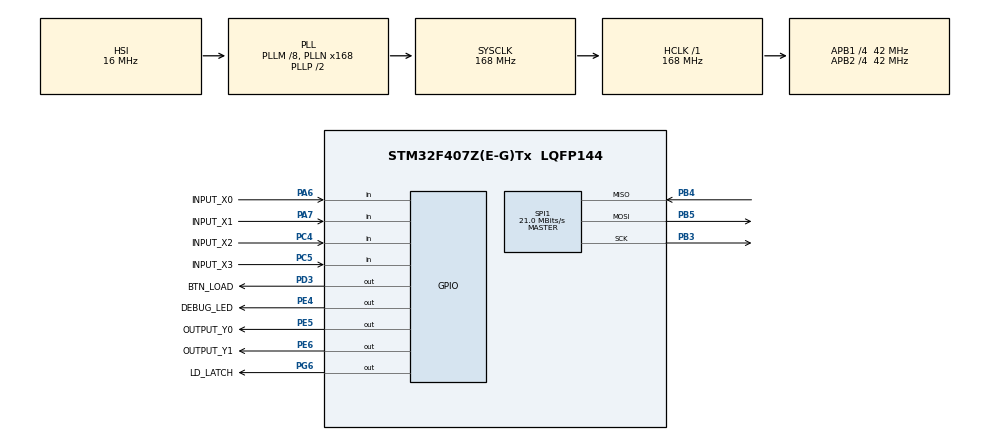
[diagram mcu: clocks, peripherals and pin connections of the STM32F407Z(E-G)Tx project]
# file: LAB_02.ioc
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Mcu.Family=STM32F4
Mcu.Name=STM32F407Z(E-G)Tx
Mcu.Package=LQFP144
NVIC.PriorityGroup=NVIC_PRIORITYGROUP_4
NVIC.TIM2_IRQn=true\:0\:0\:false\:false\:true\:true\:true
PA13.Mode=Serial_Wire
PA13.Signal=SYS_JTMS-SWDIO
PA14.Mode=Serial_Wire
PA14.Signal=SYS_JTCK-SWCLK
PA6.GPIO_Label=INPUT_X0
PA6.Signal=GPIO_Input
PA7.GPIO_Label=INPUT_X1
PA7.Signal=GPIO_Input
PB3.Mode=Full_Duplex_Master
PB3.Signal=SPI1_SCK
PB4.Mode=Full_Duplex_Master
PB4.Signal=SPI1_MISO
PB5.Mode=Full_Duplex_Master
PB5.Signal=SPI1_MOSI
PC4.GPIO_Label=INPUT_X2
PC4.Signal=GPIO_Input
PC5.GPIO_Label=INPUT_X3
PC5.Signal=GPIO_Input
PD3.GPIO_Label=BTN_LOAD
PD3.Signal=GPIO_Output
PE4.GPIO_Label=DEBUG_LED
PE4.Signal=GPIO_Output
PE5.GPIO_Label=OUTPUT_Y0
PE5.Signal=GPIO_Output
PE6.GPIO_Label=OUTPUT_Y1
PE6.Signal=GPIO_Output
PG6.GPIO_Label=LD_LATCH
PG6.Signal=GPIO_Output
PH0-OSC_IN.Mode=HSE-External-Oscillator
PH0-OSC_IN.Signal=RCC_OSC_IN
PH1-OSC_OUT.Mode=HSE-External-Oscillator
PH1-OSC_OUT.Signal=RCC_OSC_OUT
ProjectManager.HeapSize=0x200
ProjectManager.StackSize=0x400
ProjectManager.TargetToolchain=STM32CubeIDE
RCC.48MHZClocksFreq_Value=84000000
RCC.AHBFreq_Value=168000000
RCC.APB1CLKDivider=RCC_HCLK_DIV4
RCC.APB1Freq_Value=42000000
RCC.APB1TimFreq_Value=84000000
RCC.APB2CLKDivider=RCC_HCLK_DIV4
RCC.APB2Freq_Value=42000000
RCC.APB2TimFreq_Value=84000000
RCC.CortexFreq_Value=168000000
RCC.HCLKFreq_Value=168000000
RCC.HSE_VALUE=8000000
RCC.HSI_VALUE=16000000
RCC.LSE_VALUE=32768
RCC.PLLM=8
RCC.PLLN=168
RCC.SYSCLKFreq_VALUE=168000000
RCC.SYSCLKSource=RCC_SYSCLKSOURCE_PLLCLK
RCC.VCOOutputFreq_Value=336000000
SPI1.CalculateBaudRate=21.0 MBits/s
SPI1.Direction=SPI_DIRECTION_2LINES
SPI1.Mode=SPI_MODE_MASTER
SPI1.VirtualType=VM_MASTER
TIM2.Period=100-1
TIM2.Prescaler=840-1
VP_TIM2_VS_ClockSourceINT.Mode=Internal
board=custom

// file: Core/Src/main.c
/* USER CODE BEGIN Header */
/**
  ******************************************************************************
  * @file           : main.c
  * @brief          : Main program body
  ******************************************************************************
  * @attention
  *
  * <h2><center>&copy; Copyright (c) 2025 STMicroelectronics.
  * All rights reserved.</center></h2>
  *
  * This software component is licensed by ST under BSD 3-Clause license,
  * the "License"; You may not use this file except in compliance with the
  * License. You may obtain a copy of the License at:
  *                        opensource.org/licenses/BSD-3-Clause
  *
  ******************************************************************************
  */
/* USER CODE END Header */
#include "main.h"

/* USER CODE BEGIN Includes */
#include "software_timer.h"
#include "led_7seg.h"
/* USER CODE END Includes */

SPI_HandleTypeDef hspi1;

TIM_HandleTypeDef htim2;

void SystemClock_Config(void);
static void MX_GPIO_Init(void);
static void MX_SPI1_Init(void);
static void MX_TIM2_Init(void);
/* USER CODE BEGIN PFP */
void system_init();
void test_LedDebug();
void test_LedY0();
void test_LedY1();
void test_7seg();
/* USER CODE END PFP */

int main(void)
{

  /* MCU Configuration--------------------------------------------------------*/

  /* Reset of all peripherals, Initializes the Flash interface and the Systick. */
  HAL_Init();

  /* Configure the system clock */
  SystemClock_Config();

  /* Initialize all configured peripherals */
  MX_GPIO_Init();
  MX_SPI1_Init();
  MX_TIM2_Init();
  /* USER CODE BEGIN 2 */
  system_init();
  led7_SetColon(1);
  /* USER CODE END 2 */

  /* Infinite loop */
  while (1)
  {
	  while(!flag_timer2);
	  flag_timer2 = 0;
	  // main task, every 50ms
//	  test_LedDebug();
//	  test_LedY0();
//	  test_LedY1();
//	  test_7seg();
	  led7_Scan();

	  bai_1();
//	  bai_2();
//	  bai_3();
//	  bai_4();
//	  bai_5();
  }
}

void SystemClock_Config(void)
{
  RCC_OscInitTypeDef RCC_OscInitStruct = {0};
  RCC_ClkInitTypeDef RCC_ClkInitStruct = {0};

  /** Configure the main internal regulator output voltage
  */
  __HAL_RCC_PWR_CLK_ENABLE();
  __HAL_PWR_VOLTAGESCALING_CONFIG(PWR_REGULATOR_VOLTAGE_SCALE1);
  /** Initializes the RCC Oscillators according to the specified parameters
  * in the RCC_OscInitTypeDef structure.
  */
  RCC_OscInitStruct.OscillatorType = RCC_OSCILLATORTYPE_HSI;
  RCC_OscInitStruct.HSIState = RCC_HSI_ON;
  RCC_OscInitStruct.HSICalibrationValue = RCC_HSICALIBRATION_DEFAULT;
  RCC_OscInitStruct.PLL.PLLState = RCC_PLL_ON;
  RCC_OscInitStruct.PLL.PLLSource = RCC_PLLSOURCE_HSI;
  RCC_OscInitStruct.PLL.PLLM = 8;
  RCC_OscInitStruct.PLL.PLLN = 168;
  RCC_OscInitStruct.PLL.PLLP = RCC_PLLP_DIV2;
  RCC_OscInitStruct.PLL.PLLQ = 4;
  if (HAL_RCC_OscConfig(&RCC_OscInitStruct) != HAL_OK)
  {
    Error_Handler();
  }
  /** Initializes the CPU, AHB and APB buses clocks
  */
  RCC_ClkInitStruct.ClockType = RCC_CLOCKTYPE_HCLK|RCC_CLOCKTYPE_SYSCLK
                              |RCC_CLOCKTYPE_PCLK1|RCC_CLOCKTYPE_PCLK2;
  RCC_ClkInitStruct.SYSCLKSource = RCC_SYSCLKSOURCE_PLLCLK;
  RCC_ClkInitStruct.AHBCLKDivider = RCC_SYSCLK_DIV1;
  RCC_ClkInitStruct.APB1CLKDivider = RCC_HCLK_DIV4;
  RCC_ClkInitStruct.APB2CLKDivider = RCC_HCLK_DIV4;

  if (HAL_RCC_ClockConfig(&RCC_ClkInitStruct, FLASH_LATENCY_5) != HAL_OK)
  {
    Error_Handler();
  }
}

static void MX_SPI1_Init(void)
{

  /* SPI1 parameter configuration*/
  hspi1.Instance = SPI1;
  hspi1.Init.Mode = SPI_MODE_MASTER;
  hspi1.Init.Direction = SPI_DIRECTION_2LINES;
  hspi1.Init.DataSize = SPI_DATASIZE_8BIT;
  hspi1.Init.CLKPolarity = SPI_POLARITY_LOW;
  hspi1.Init.CLKPhase = SPI_PHASE_1EDGE;
  hspi1.Init.NSS = SPI_NSS_SOFT;
  hspi1.Init.BaudRatePrescaler = SPI_BAUDRATEPRESCALER_2;
  hspi1.Init.FirstBit = SPI_FIRSTBIT_MSB;
  hspi1.Init.TIMode = SPI_TIMODE_DISABLE;
  hspi1.Init.CRCCalculation = SPI_CRCCALCULATION_DISABLE;
  hspi1.Init.CRCPolynomial = 10;
  if (HAL_SPI_Init(&hspi1) != HAL_OK)
  {
    Error_Handler();
  }

}

static void MX_TIM2_Init(void)
{

  TIM_ClockConfigTypeDef sClockSourceConfig = {0};
  TIM_MasterConfigTypeDef sMasterConfig = {0};

  htim2.Instance = TIM2;
  htim2.Init.Prescaler = 840-1;
  htim2.Init.CounterMode = TIM_COUNTERMODE_UP;
  htim2.Init.Period = 100-1;
  htim2.Init.ClockDivision = TIM_CLOCKDIVISION_DIV1;
  htim2.Init.AutoReloadPreload = TIM_AUTORELOAD_PRELOAD_DISABLE;
  if (HAL_TIM_Base_Init(&htim2) != HAL_OK)
  {
    Error_Handler();
  }
  sClockSourceConfig.ClockSource = TIM_CLOCKSOURCE_INTERNAL;
  if (HAL_TIM_ConfigClockSource(&htim2, &sClockSourceConfig) != HAL_OK)
  {
    Error_Handler();
  }
  sMasterConfig.MasterOutputTrigger = TIM_TRGO_RESET;
  sMasterConfig.MasterSlaveMode = TIM_MASTERSLAVEMODE_DISABLE;
  if (HAL_TIMEx_MasterConfigSynchronization(&htim2, &sMasterConfig) != HAL_OK)
  {
    Error_Handler();
  }

}

static void MX_GPIO_Init(void)
{
  GPIO_InitTypeDef GPIO_InitStruct = {0};

  /* GPIO Ports Clock Enable */
  __HAL_RCC_GPIOE_CLK_ENABLE();
  __HAL_RCC_GPIOH_CLK_ENABLE();
  __HAL_RCC_GPIOA_CLK_ENABLE();
  __HAL_RCC_GPIOC_CLK_ENABLE();
  __HAL_RCC_GPIOG_CLK_ENABLE();
  __HAL_RCC_GPIOD_CLK_ENABLE();
  __HAL_RCC_GPIOB_CLK_ENABLE();

  /*Configure GPIO pin Output Level */
  HAL_GPIO_WritePin(GPIOE, DEBUG_LED_Pin|OUTPUT_Y0_Pin|OUTPUT_Y1_Pin, GPIO_PIN_RESET);

  /*Configure GPIO pin Output Level */
  HAL_GPIO_WritePin(LD_LATCH_GPIO_Port, LD_LATCH_Pin, GPIO_PIN_RESET);

  /*Configure GPIO pin Output Level */
  HAL_GPIO_WritePin(BTN_LOAD_GPIO_Port, BTN_LOAD_Pin, GPIO_PIN_RESET);

  /*Configure GPIO pins : DEBUG_LED_Pin OUTPUT_Y0_Pin OUTPUT_Y1_Pin */
  GPIO_InitStruct.Pin = DEBUG_LED_Pin|OUTPUT_Y0_Pin|OUTPUT_Y1_Pin;
  GPIO_InitStruct.Mode = GPIO_MODE_OUTPUT_PP;
  GPIO_InitStruct.Pull = GPIO_NOPULL;
  GPIO_InitStruct.Speed = GPIO_SPEED_FREQ_LOW;
  HAL_GPIO_Init(GPIOE, &GPIO_InitStruct);

  /*Configure GPIO pins : INPUT_X0_Pin INPUT_X1_Pin */
  GPIO_InitStruct.Pin = INPUT_X0_Pin|INPUT_X1_Pin;
  GPIO_InitStruct.Mode = GPIO_MODE_INPUT;
  GPIO_InitStruct.Pull = GPIO_NOPULL;
  HAL_GPIO_Init(GPIOA, &GPIO_InitStruct);

  /*Configure GPIO pins : INPUT_X2_Pin INPUT_X3_Pin */
  GPIO_InitStruct.Pin = INPUT_X2_Pin|INPUT_X3_Pin;
  GPIO_InitStruct.Mode = GPIO_MODE_INPUT;
  GPIO_InitStruct.Pull = GPIO_NOPULL;
  HAL_GPIO_Init(GPIOC, &GPIO_InitStruct);

  /*Configure GPIO pin : LD_LATCH_Pin */
  GPIO_InitStruct.Pin = LD_LATCH_Pin;
  GPIO_InitStruct.Mode = GPIO_MODE_OUTPUT_PP;
  GPIO_InitStruct.Pull = GPIO_NOPULL;
  GPIO_InitStruct.Speed = GPIO_SPEED_FREQ_LOW;
  HAL_GPIO_Init(LD_LATCH_GPIO_Port, &GPIO_InitStruct);

  /*Configure GPIO pin : BTN_LOAD_Pin */
  GPIO_InitStruct.Pin = BTN_LOAD_Pin;
  GPIO_InitStruct.Mode = GPIO_MODE_OUTPUT_PP;
  GPIO_InitStruct.Pull = GPIO_NOPULL;
  GPIO_InitStruct.Speed = GPIO_SPEED_FREQ_LOW;
  HAL_GPIO_Init(BTN_LOAD_GPIO_Port, &GPIO_InitStruct);

}

/* USER CODE BEGIN 4 */
void system_init(){
	  HAL_GPIO_WritePin(OUTPUT_Y0_GPIO_Port, OUTPUT_Y0_Pin, 0);
	  HAL_GPIO_WritePin(OUTPUT_Y1_GPIO_Port, OUTPUT_Y1_Pin, 0);
	  HAL_GPIO_WritePin(DEBUG_LED_GPIO_Port, DEBUG_LED_Pin, 0);
	  timer_init();
	  led7_init();
	  setTimer2(50);  	// 50ms for main task
//	  setTimer2(250); 	// 1HZ for bai_3
//	  setTimer2(10);  	// 25HZ for bai_3
//	  setTimer2(2);		// 100HZ for bai_3
	  // setTimer2(500);  // 500ms for bai_4 (colon blinking)

}

uint8_t count_led_debug = 0;
uint8_t count_led_Y0 = 0;
uint8_t count_led_Y1 = 0;

void test_LedDebug(){
	count_led_debug = (count_led_debug + 1)%40;
	if(count_led_debug == 0){
		HAL_GPIO_TogglePin(DEBUG_LED_GPIO_Port, DEBUG_LED_Pin);
	}
}

void test_LedY0(){
	count_led_Y0 = (count_led_Y0+ 1)%120;
	if(count_led_Y0 > 40){
		HAL_GPIO_WritePin(OUTPUT_Y0_GPIO_Port, OUTPUT_Y0_Pin, 1);
	} else {
		HAL_GPIO_WritePin(OUTPUT_Y0_GPIO_Port, OUTPUT_Y0_Pin, 0);
	}
}

void test_LedY1(){
	count_led_Y1 = (count_led_Y1+ 1)%120;
	if(count_led_Y1 > 20){
		HAL_GPIO_WritePin(OUTPUT_Y1_GPIO_Port, OUTPUT_Y1_Pin, 1);
	} else {
		HAL_GPIO_WritePin(OUTPUT_Y0_GPIO_Port, OUTPUT_Y1_Pin, 0);
	}
}

void bai_1() {
	test_LedDebug();
	test_LedY0();
	test_LedY1();
}

uint8_t count_b2 = 0;

void bai_2() {
	count_b2 = (count_b2 + 1) % 180;
	switch (count_b2) {
	  case 0: // Vàng
		  HAL_GPIO_WritePin(DEBUG_LED_GPIO_Port, DEBUG_LED_Pin, 0);
		  HAL_GPIO_WritePin(OUTPUT_Y0_GPIO_Port, OUTPUT_Y0_Pin, 0);
		  HAL_GPIO_WritePin(OUTPUT_Y1_GPIO_Port, OUTPUT_Y1_Pin, 1);
		  break;
	  case 20: // Xanh
		  HAL_GPIO_WritePin(DEBUG_LED_GPIO_Port, DEBUG_LED_Pin, 0);
		  HAL_GPIO_WritePin(OUTPUT_Y0_GPIO_Port, OUTPUT_Y0_Pin, 1);
		  HAL_GPIO_WritePin(OUTPUT_Y1_GPIO_Port, OUTPUT_Y1_Pin, 0);
		  break;
	  case 80:
		  HAL_GPIO_WritePin(DEBUG_LED_GPIO_Port, DEBUG_LED_Pin, 1);
		  HAL_GPIO_WritePin(OUTPUT_Y0_GPIO_Port, OUTPUT_Y0_Pin, 0);
		  HAL_GPIO_WritePin(OUTPUT_Y1_GPIO_Port, OUTPUT_Y1_Pin, 0);
		  break;
	  default:
		  break;
	  }
	  ++count_b2;
}

void test_7seg(){
	//write number1 at led index 0 (not show dot)
	led7_SetDigit(1, 0, 0);
	led7_SetDigit(5, 1, 0);
	led7_SetDigit(4, 2, 0);
	led7_SetDigit(7, 3, 0);
}

void bai_3() {
	test_7seg();
}

uint8_t hour = 15, minute = 8, second = 50;
uint8_t colon_blink_state = 0;
uint8_t half_second_counter = 0;

void bai_4() {
	// Increment half-second counter
	++half_second_counter;

	// Toggle colon every 500ms (2Hz)
	colon_blink_state = !colon_blink_state;
	led7_SetColon(colon_blink_state);

	// Update time every 2 half-seconds (1 second)
	if (half_second_counter >= 2) {
		half_second_counter = 0;

		++second;
		if (second >= 60) {
			second = 0;
			++minute;
		}

		if (minute >= 60) {
			minute = 0;
			++hour;
		}

		if (hour >= 24) {
			hour = 0;
		}
	}

	// Update display
	led7_SetDigit(hour / 10, 0, 0);
	led7_SetDigit(hour % 10, 1, 0);
	led7_SetDigit(minute / 10, 2, 0);
	led7_SetDigit(minute % 10, 3, 0);
}

uint8_t digits[4] = {1, 2, 3, 4};
uint8_t shift_counter = 0;

void bai_5() {
	++shift_counter;

	if (shift_counter >= 20) {
		shift_counter = 0;

		uint8_t last_digit = digits[3];

		for (int i = 3; i > 0; i--) {
			digits[i] = digits[i - 1];
		}

		digits[0] = last_digit;
	}

	led7_SetDigit(digits[0], 0, 0);
	led7_SetDigit(digits[1], 1, 0);
	led7_SetDigit(digits[2], 2, 0);
	led7_SetDigit(digits[3], 3, 0);

	led7_SetColon(0);
}
/* USER CODE END 4 */

void Error_Handler(void)
{
  __disable_irq();
  while (1)
  {
  }
}

/************************ (C) COPYRIGHT STMicroelectronics *****END OF FILE****/
